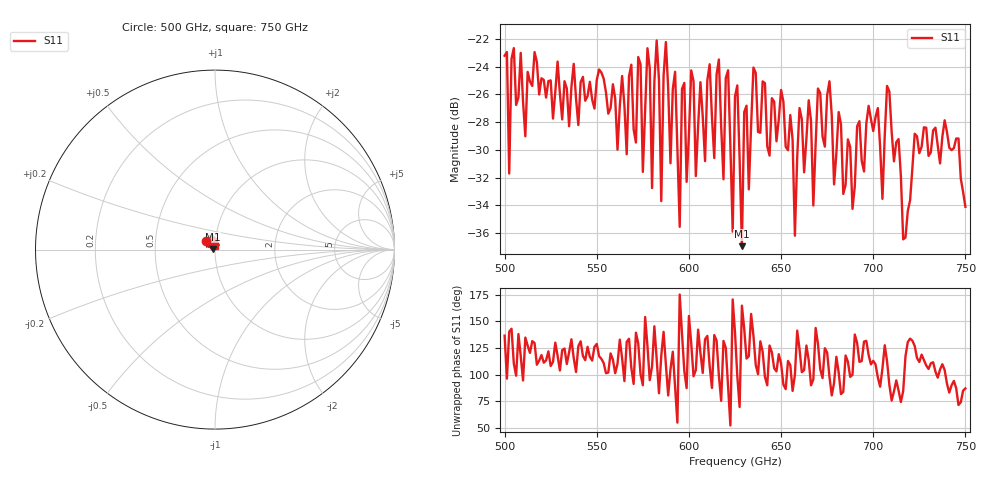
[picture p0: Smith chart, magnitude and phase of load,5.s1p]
!Created with mwavepy.
# GHz S RI R 50.0
!freq	ReS11	ImS11
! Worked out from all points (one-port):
!   201 points, 500 GHz to 750 GHz, reference 50 ohm
!   lowest |S11| = -37.0 dB at 628.8 GHz (marker M1), VSWR 1.03, Z = 48.6 + j0.368 ohm
!   |S11| at or under -10 dB: start of sweep to end of sweep
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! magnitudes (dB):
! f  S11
! 500 GHz  -23.2
! 502.5 GHz  -31.7
! 505 GHz  -22.7
! 531.2 GHz  -27.8
! 562.5 GHz  -26.8
! 572.5 GHz  -23.3
! 575 GHz  -31.6
! 577.5 GHz  -22.7
! 580 GHz  -32.8
! 582.5 GHz  -22.1
! 585 GHz  -33.7
! 587.5 GHz  -22.2
! 593.8 GHz  -30.0
! 616.2 GHz  -23.5
! 618.8 GHz  -32.1
! 621.2 GHz  -24.3
! 623.8 GHz  -35.9
! 625 GHz  -26.2
! 628.8 GHz  -37.0
! 630 GHz  -27.3
! 632.5 GHz  -32.9
! 635 GHz  -24.1
! 656.2 GHz  -29.3
! 687.5 GHz  -29.8
! 705 GHz  -33.5
! 707.5 GHz  -25.4
! 718.8 GHz  -34.4
! 750 GHz  -34.1
